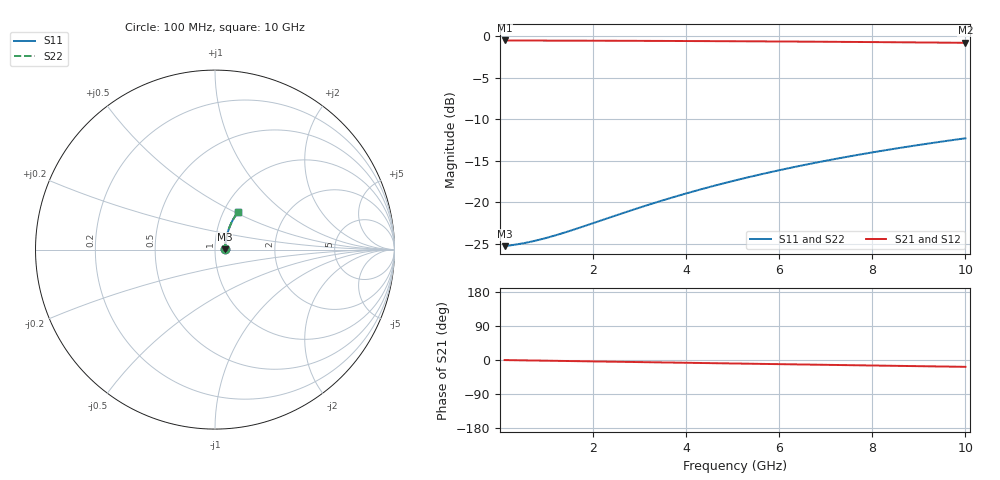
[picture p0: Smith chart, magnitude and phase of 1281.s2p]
# Hz S RI R 50.00
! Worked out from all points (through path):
!   100 points, 100 MHz to 10 GHz, reference 50 ohm
!   highest |S21| = -0.48 dB at 100 MHz (marker M1); lowest = -0.8 dB at 10 GHz (marker M2)
!   group delay of S21, straight-line fit = 5.01 ps
!   lowest |S11| = -25.3 dB at 100 MHz (marker M3), VSWR 1.11, Z = 55.7 + j0.255 ohm
!   |S11| at or under -10 dB: start of sweep to end of sweep
!   |S22| runs from -25.3 to -12.3 dB; largest |S21 - S12| = 0
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1e8  0.0542 0.00228  0.9458 -0.00304  0.9458 -0.00304  0.0542 0.00228
3e8  0.0548 0.00684  0.9452 -0.00911  0.9452 -0.00911  0.0548 0.00684
5e8  0.0553 0.0114  0.9447 -0.0152  0.9447 -0.0152  0.0553 0.0114
7e8  0.0558 0.0159  0.9442 -0.0212  0.9442 -0.0212  0.0558 0.0159
9e8  0.0562 0.0205  0.9437 -0.0273  0.9437 -0.0273  0.0562 0.0205
1.1e9  0.0567 0.025  0.9433 -0.0333  0.9433 -0.0333  0.0567 0.025
1.3e9  0.0572 0.0295  0.9427 -0.0393  0.9427 -0.0393  0.0572 0.0295
1.8e9  0.0587 0.0408  0.9412 -0.0544  0.9412 -0.0544  0.0587 0.0408
2.8e9  0.0625 0.0631  0.9372 -0.0843  0.9372 -0.0843  0.0625 0.0631
3.4e9  0.0655 0.0763  0.9342 -0.102  0.9342 -0.102  0.0655 0.0763
3.8e9  0.0677 0.085  0.9319 -0.1138  0.9319 -0.1138  0.0677 0.085
4.2e9  0.0701 0.0937  0.9294 -0.1255  0.9294 -0.1255  0.0701 0.0937
4.6e9  0.0727 0.1023  0.9266 -0.1371  0.9266 -0.1371  0.0727 0.1023
5.1e9  0.0763 0.1129  0.9229 -0.1515  0.9229 -0.1515  0.0763 0.1129
5.5e9  0.0793 0.1212  0.9197 -0.1629  0.9197 -0.1629  0.0793 0.1212
5.9e9  0.0826 0.1295  0.9163 -0.1742  0.9163 -0.1742  0.0826 0.1295
6.3e9  0.0861 0.1377  0.9127 -0.1854  0.9127 -0.1854  0.0861 0.1377
6.7e9  0.0897 0.1457  0.9089 -0.1965  0.9089 -0.1965  0.0897 0.1457
7.5e9  0.0976 0.1615  0.9007 -0.2183  0.9007 -0.2183  0.0976 0.1615
8.4e9  0.1073 0.1786  0.8906 -0.2423  0.8906 -0.2423  0.1073 0.1786
9.2e9  0.1167 0.1932  0.8808 -0.263  0.8808 -0.263  0.1167 0.1932
1e10  0.1266 0.2072  0.8704 -0.2831  0.8704 -0.2831  0.1266 0.2072
